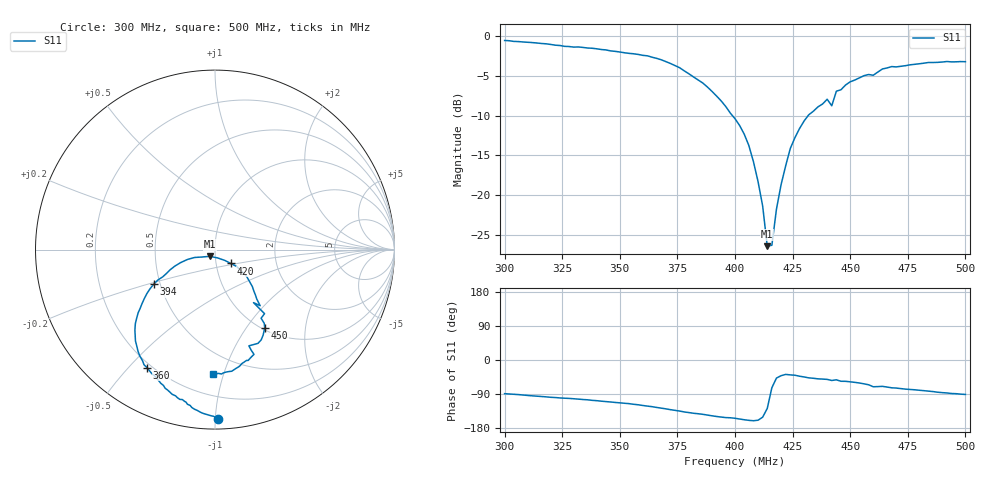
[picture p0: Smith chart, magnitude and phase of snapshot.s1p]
! Copper dipole approx 164mm per arm after third 2mm trim; active SOL calibration retained
# Hz S RI R 50
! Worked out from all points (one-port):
!   101 points, 300 MHz to 500 MHz, reference 50 ohm
!   lowest |S11| = -26.4 dB at 414 MHz (marker M1), VSWR 1.10, Z = 47 - j3.55 ohm
!   |S11| at or under -10 dB: 398.9 MHz to 431.7 MHz (32.82 MHz wide, 7.9 % of centre)
!   S11 on the Smith chart (normalised r, x): 300 MHz: 0.06, -1.02; 360 MHz: 0.18, -0.56; 394 MHz: 0.46, -0.21; 420 MHz: 1.18, -0.18; 450 MHz: 1.03, -1.22; 500 MHz: 0.35, -0.92
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3e8  0.0189 -0.9415
3.26e8  -0.162 -0.8493
3.5e8  -0.3116 -0.7329
3.6e8  -0.3797 -0.6569
3.76e8  -0.4462 -0.4497
3.86e8  -0.4075 -0.3033
3.94e8  -0.3412 -0.1925
4e8  -0.2714 -0.1338
4.04e8  -0.2238 -0.092
4.08e8  -0.1529 -0.0548
4.12e8  -0.0747 -0.0415
4.14e8  -0.0292 -0.0376
4.16e8  0.014 -0.0462
4.18e8  0.0549 -0.0604
4.2e8  0.0872 -0.0768
4.24e8  0.1521 -0.1244
4.26e8  0.1755 -0.1482
4.32e8  0.2178 -0.2347
4.4e8  0.2517 -0.3125
4.42e8  0.2145 -0.2954
4.44e8  0.2761 -0.3569
4.5e8  0.277 -0.4363
4.56e8  0.2573 -0.5032
4.6e8  0.1887 -0.5361
4.64e8  0.2173 -0.5836
4.68e8  0.1846 -0.6177
4.76e8  0.1405 -0.6461
5e8  -0.0107 -0.6919
